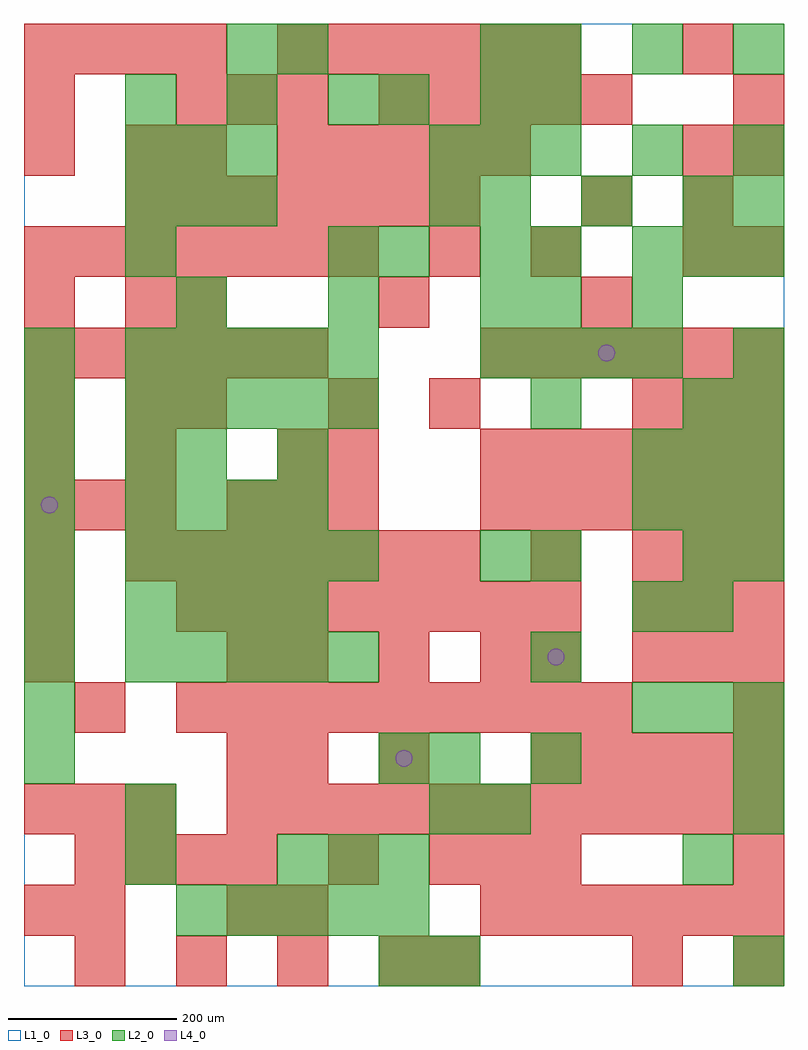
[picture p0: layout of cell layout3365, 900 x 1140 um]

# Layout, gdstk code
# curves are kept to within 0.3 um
import gdstk
lib = gdstk.Library(unit=1e-6, precision=1e-09)
def R(c, l, rs):  # rectangles x0, y0, x1, y1
    for r in rs: c.add(gdstk.rectangle(r[:2], r[2:], *l))
def A(c, l, x, y, w, h, nx, ny, dx, dy):  # array of equal rectangles
    R(c, l, [(x+i*dx, y+j*dy, x+i*dx+w, y+j*dy+h) for i in range(nx) for j in range(ny)])
def P(c, l, *ps):  # polygons
    for p in ps: c.add(gdstk.Polygon(p, *l))
L1_0 = (1, 0)
L2_0 = (2, 0)
L3_0 = (3, 0)
L4_0 = (4, 0)

layout3365 = lib.new_cell('layout3365')
R(layout3365, L1_0, [(0,0,900,1140)])
A(layout3365, L2_0, 180, 60, 60, 60, 5, 1, 60, 0)
A(layout3365, L2_0, 300, 120, 60, 60, 3, 1, 60, 0)
A(layout3365, L2_0, 0, 240, 60, 60, 1, 9, 0, 60)
A(layout3365, L2_0, 600, 240, 60, 60, 1, 3, 0, 120)
A(layout3365, L2_0, 720, 300, 60, 60, 3, 2, 60, 240)
A(layout3365, L2_0, 120, 360, 60, 60, 5, 2, 60, 120)
A(layout3365, L2_0, 120, 420, 60, 60, 4, 2, 60, 120)
A(layout3365, L2_0, 720, 600, 60, 60, 3, 2, 60, 240)
A(layout3365, L2_0, 120, 660, 60, 60, 5, 2, 60, 60)
A(layout3365, L2_0, 540, 720, 60, 60, 4, 1, 60, 0)
A(layout3365, L2_0, 180, 780, 60, 60, 3, 1, 180, 0)
A(layout3365, L2_0, 120, 900, 60, 60, 3, 2, 60, 60)
A(layout3365, L2_0, 540, 900, 60, 60, 3, 1, 120, 0)
A(layout3365, L2_0, 480, 960, 60, 60, 3, 1, 60, 0)
A(layout3365, L2_0, 120, 1020, 60, 60, 3, 1, 120, 0)
A(layout3365, L2_0, 600, 1080, 60, 60, 3, 1, 120, 0)
R(layout3365, L2_0, [(420,0,480,60), (480,0,540,60), (840,0,900,60), (120,120,180,180), (780,120,840,180), (120,180,180,240), (480,180,540,240), (540,180,600,240), (840,180,900,240), (420,240,480,300), (480,240,540,300), (840,240,900,300), (720,420,780,480), (780,420,840,480), (540,480,600,540), (780,480,840,540), (840,480,900,540), (120,600,180,660), (180,600,240,660), (300,600,360,660), (600,660,660,720), (780,660,840,720), (840,660,900,720), (840,720,900,780), (600,780,660,840), (720,780,780,840), (120,840,180,900), (360,840,420,900), (420,840,480,900), (540,840,600,900), (600,840,660,900), (480,900,540,960), (840,900,900,960), (720,960,780,1020), (840,960,900,1020), (420,1020,480,1080), (540,1020,600,1080), (600,1020,660,1080), (240,1080,300,1140), (300,1080,360,1140), (540,1080,600,1140)])
A(layout3365, L3_0, 60, 0, 60, 60, 4, 1, 120, 0)
A(layout3365, L3_0, 540, 60, 60, 60, 6, 2, 60, 480)
A(layout3365, L3_0, 60, 120, 60, 60, 4, 1, 60, 0)
A(layout3365, L3_0, 480, 120, 60, 60, 3, 1, 60, 0)
A(layout3365, L3_0, 0, 180, 60, 60, 3, 2, 60, 360)
A(layout3365, L3_0, 240, 180, 60, 60, 11, 1, 60, 0)
A(layout3365, L3_0, 600, 240, 60, 60, 5, 1, 60, 0)
A(layout3365, L3_0, 180, 300, 60, 60, 9, 1, 60, 0)
A(layout3365, L3_0, 0, 360, 60, 60, 1, 3, 0, 60)
A(layout3365, L3_0, 300, 360, 60, 60, 3, 1, 120, 0)
A(layout3365, L3_0, 720, 360, 60, 60, 3, 3, 60, 60)
A(layout3365, L3_0, 180, 420, 60, 60, 8, 1, 60, 0)
A(layout3365, L3_0, 120, 480, 60, 60, 7, 2, 60, 420)
A(layout3365, L3_0, 240, 540, 60, 60, 3, 1, 60, 0)
A(layout3365, L3_0, 540, 600, 60, 60, 6, 2, 60, 120)
A(layout3365, L3_0, 720, 660, 60, 60, 3, 1, 60, 0)
A(layout3365, L3_0, 0, 720, 60, 60, 6, 1, 60, 0)
A(layout3365, L3_0, 180, 780, 60, 60, 3, 1, 240, 0)
A(layout3365, L3_0, 0, 840, 60, 60, 7, 1, 60, 0)
A(layout3365, L3_0, 780, 840, 60, 60, 1, 3, 0, 60)
A(layout3365, L3_0, 300, 960, 60, 60, 5, 1, 60, 0)
A(layout3365, L3_0, 180, 1020, 60, 60, 3, 1, 60, 0)
A(layout3365, L3_0, 420, 1020, 60, 60, 5, 1, 60, 0)
A(layout3365, L3_0, 0, 1080, 60, 60, 4, 1, 60, 0)
A(layout3365, L3_0, 300, 1080, 60, 60, 6, 1, 60, 0)
R(layout3365, L3_0, [(480,0,540,60), (720,0,780,60), (840,0,900,60), (0,60,60,120), (60,60,120,120), (240,60,300,120), (300,60,360,120), (360,120,420,180), (840,120,900,180), (240,240,300,300), (300,240,360,300), (420,240,480,300), (60,300,120,360), (840,300,900,360), (240,360,300,420), (600,360,660,420), (600,480,660,540), (0,600,60,660), (120,600,180,660), (300,600,360,660), (360,600,420,660), (0,660,60,720), (120,660,180,720), (180,660,240,720), (360,660,420,720), (480,660,540,720), (0,780,60,840), (120,780,180,840), (480,840,540,900), (600,840,660,900), (840,840,900,900), (660,900,720,960), (0,960,60,1020), (120,960,180,1020), (180,960,240,1020), (840,960,900,1020), (0,1020,60,1080), (840,1020,900,1080), (780,1080,840,1140)])
P(layout3365, L4_0, [(40,570),(39.239,573.827),(37.071,577.071),(33.827,579.239),(30,580),(26.173,579.239),(22.929,577.071),(20.761,573.827),(20,570),(20.761,566.173),(22.929,562.929),(26.173,560.761),(30,560),(33.827,560.761),(37.071,562.929),(39.239,566.173)],
  [(460,270),(459.239,273.827),(457.071,277.071),(453.827,279.239),(450,280),(446.173,279.239),(442.929,277.071),(440.761,273.827),(440,270),(440.761,266.173),(442.929,262.929),(446.173,260.761),(450,260),(453.827,260.761),(457.071,262.929),(459.239,266.173)],
  [(640,390),(639.239,393.827),(637.071,397.071),(633.827,399.239),(630,400),(626.173,399.239),(622.929,397.071),(620.761,393.827),(620,390),(620.761,386.173),(622.929,382.929),(626.173,380.761),(630,380),(633.827,380.761),(637.071,382.929),(639.239,386.173)],
  [(700,750),(699.239,753.827),(697.071,757.071),(693.827,759.239),(690,760),(686.173,759.239),(682.929,757.071),(680.761,753.827),(680,750),(680.761,746.173),(682.929,742.929),(686.173,740.761),(690,740),(693.827,740.761),(697.071,742.929),(699.239,746.173)])

lib.write_gds('layout3365.gds')
